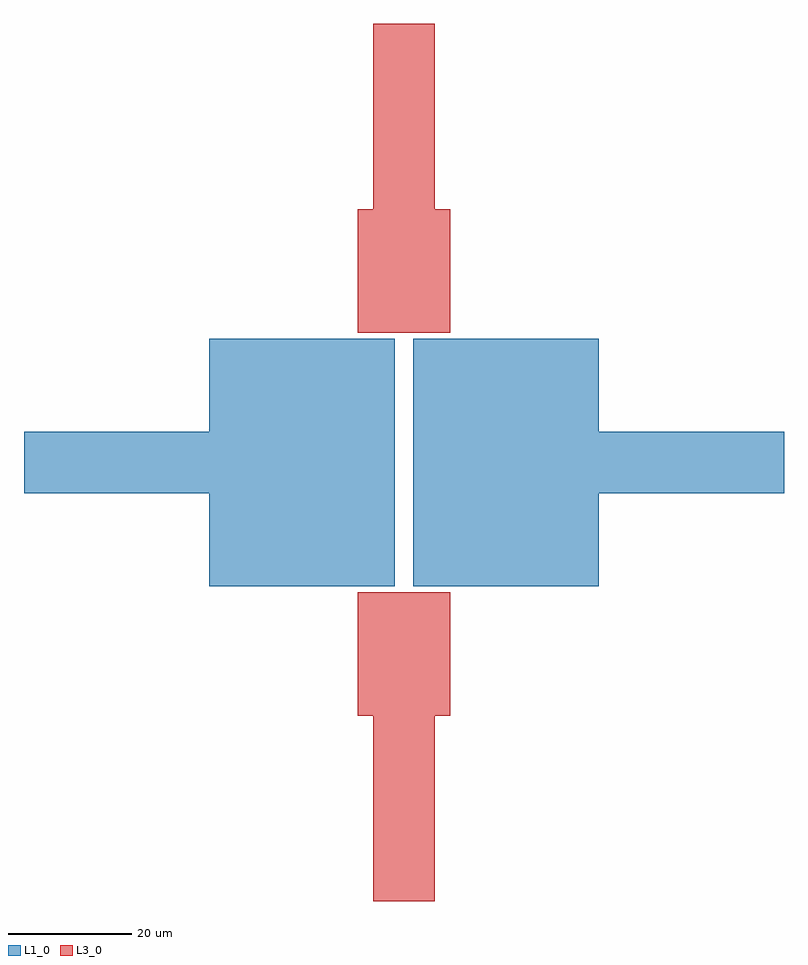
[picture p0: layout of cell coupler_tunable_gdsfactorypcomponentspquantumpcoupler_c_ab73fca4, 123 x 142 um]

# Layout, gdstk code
import gdstk
lib = gdstk.Library(unit=1e-6, precision=1e-09)
def R(c, l, rs):  # rectangles x0, y0, x1, y1
    for r in rs: c.add(gdstk.rectangle(r[:2], r[2:], *l))
L1_0 = (1, 0)
L3_0 = (3, 0)

rectangle_gdsfactorypcom = lib.new_cell('rectangle_gdsfactorypcomponentspshapesprectangle_S30_40_bc503d72')
R(rectangle_gdsfactorypcom, L1_0, [(0,0,30,40)])

c_rectangle_gdsfactorypcom = lib.new_cell('rectangle_gdsfactorypcomponentspshapesprectangle_S15_20_3fd3374e')
R(c_rectangle_gdsfactorypcom, L3_0, [(0,0,15,20)])

c_rectangle_gdsfactorypcom_ = lib.new_cell('rectangle_gdsfactorypcomponentspshapesprectangle_S30_10_8e0991d1')
R(c_rectangle_gdsfactorypcom_, L1_0, [(0,0,30,10)])

c_rectangle_gdsfactorypcom__ = lib.new_cell('rectangle_gdsfactorypcomponentspshapesprectangle_S10_30_421ff531')
R(c_rectangle_gdsfactorypcom__, L3_0, [(0,0,10,30)])

coupler_tunable_gdsfacto = lib.new_cell('coupler_tunable_gdsfactorypcomponentspquantumpcoupler_c_ab73fca4')
coupler_tunable_gdsfacto.add(gdstk.Reference(rectangle_gdsfactorypcom, (-31.5,-20)))
coupler_tunable_gdsfacto.add(gdstk.Reference(rectangle_gdsfactorypcom, (1.5,-20)))
coupler_tunable_gdsfacto.add(gdstk.Reference(c_rectangle_gdsfactorypcom, (-7.5,21)))
coupler_tunable_gdsfacto.add(gdstk.Reference(c_rectangle_gdsfactorypcom, (-7.5,-41)))
coupler_tunable_gdsfacto.add(gdstk.Reference(c_rectangle_gdsfactorypcom_, (-61.5,-5)))
coupler_tunable_gdsfacto.add(gdstk.Reference(c_rectangle_gdsfactorypcom_, (31.5,-5)))
coupler_tunable_gdsfacto.add(gdstk.Reference(c_rectangle_gdsfactorypcom__, (-5,41)))
coupler_tunable_gdsfacto.add(gdstk.Reference(c_rectangle_gdsfactorypcom__, (-5,-71)))

lib.write_gds('coupler_tunable_gdsfactorypcomponentspquantumpcoupler_c_ab73fca4.gds')
